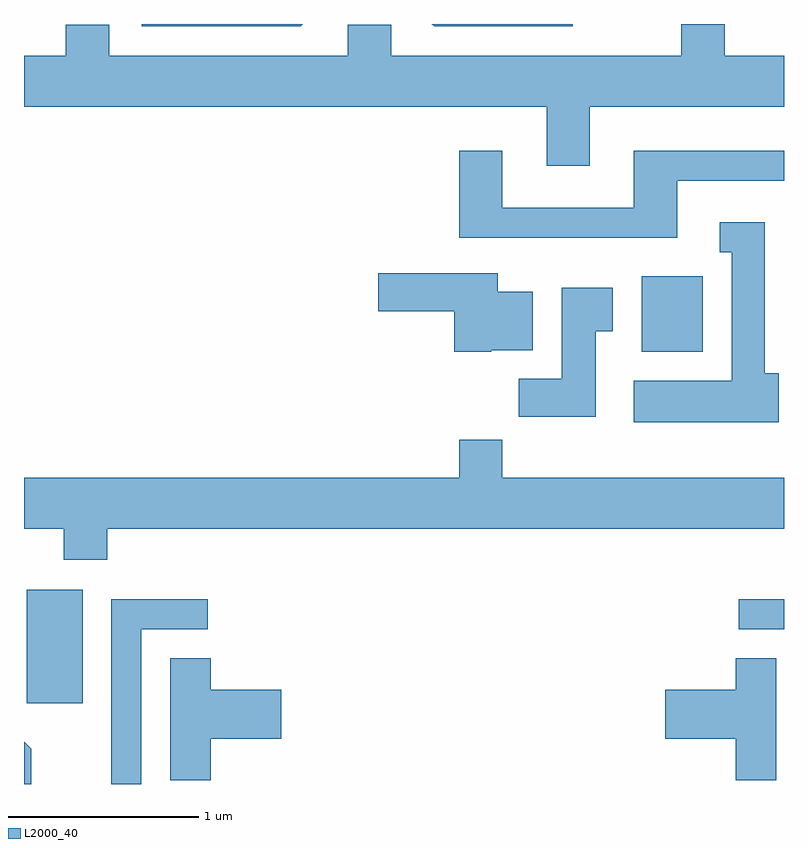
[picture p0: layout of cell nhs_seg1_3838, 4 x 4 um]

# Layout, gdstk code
import gdstk
lib = gdstk.Library(unit=1e-6, precision=1e-09)
def R(c, l, rs):  # rectangles x0, y0, x1, y1
    for r in rs: c.add(gdstk.rectangle(r[:2], r[2:], *l))
def P(c, l, *ps):  # polygons
    for p in ps: c.add(gdstk.Polygon(p, *l))
L2000_40 = (2000, 40)

nhs_seg1_3838 = lib.new_cell('nhs_seg1_3838')
R(nhs_seg1_3838, L2000_40, [(299.626,974.136,299.919,974.734), (303.373,974.526,303.611,974.684), (302.861,975.986,303.184,976.384)])
P(nhs_seg1_3838, L2000_40, [(302.589,977.276),(303.611,977.276),(303.611,977.544),(303.299,977.544),(303.299,977.712),(303.071,977.712),(303.071,977.544),(301.544,977.544),(301.544,977.709),(301.316,977.709),(301.316,977.544),(300.059,977.544),(300.059,977.709),(299.831,977.709),(299.831,977.544),(299.611,977.544),(299.611,977.276),(302.361,977.276),(302.361,976.966),(302.589,976.966)],
  [(302.499,977.712),(301.758,977.712),(301.769,977.701),(302.499,977.701)],
  [(301.078,977.712),(300.231,977.712),(300.231,977.701),(301.067,977.701)],
  [(303.049,976.886),(303.611,976.886),(303.611,977.044),(302.821,977.044),(302.821,976.744),(302.129,976.744),(302.129,977.044),(301.901,977.044),(301.901,976.586),(303.049,976.586)],
  [(303.584,975.874),(303.509,975.874),(303.509,976.669),(303.273,976.669),(303.273,976.511),(303.336,976.511),(303.336,975.834),(302.821,975.834),(302.821,975.616),(303.584,975.616)],
  [(302.07,975.996),(302.289,975.996),(302.289,976.304),(302.104,976.304),(302.104,976.399),(301.476,976.399),(301.476,976.201),(301.876,976.201),(301.876,975.986),(302.07,975.986)],
  [(302.619,976.096),(302.709,976.096),(302.709,976.324),(302.441,976.324),(302.441,975.844),(302.216,975.844),(302.216,975.646),(302.619,975.646)],
  [(300.049,975.056),(303.611,975.056),(303.611,975.324),(302.129,975.324),(302.129,975.524),(301.901,975.524),(301.901,975.324),(299.611,975.324),(299.611,975.056),(299.821,975.056),(299.821,974.891),(300.049,974.891)],
  [(300.229,974.526),(300.578,974.526),(300.578,974.684),(300.071,974.684),(300.071,973.712),(300.229,973.712)],
  [(303.569,974.374),(303.356,974.374),(303.356,974.209),(302.986,974.209),(302.986,973.951),(303.356,973.951),(303.356,973.731),(303.569,973.731)],
  [(300.594,973.951),(300.964,973.951),(300.964,974.209),(300.594,974.209),(300.594,974.374),(300.381,974.374),(300.381,973.731),(300.594,973.731)],
  [(299.649,973.897),(299.611,973.935),(299.611,973.712),(299.649,973.712)])

lib.write_gds('nhs_seg1_3838.gds')
